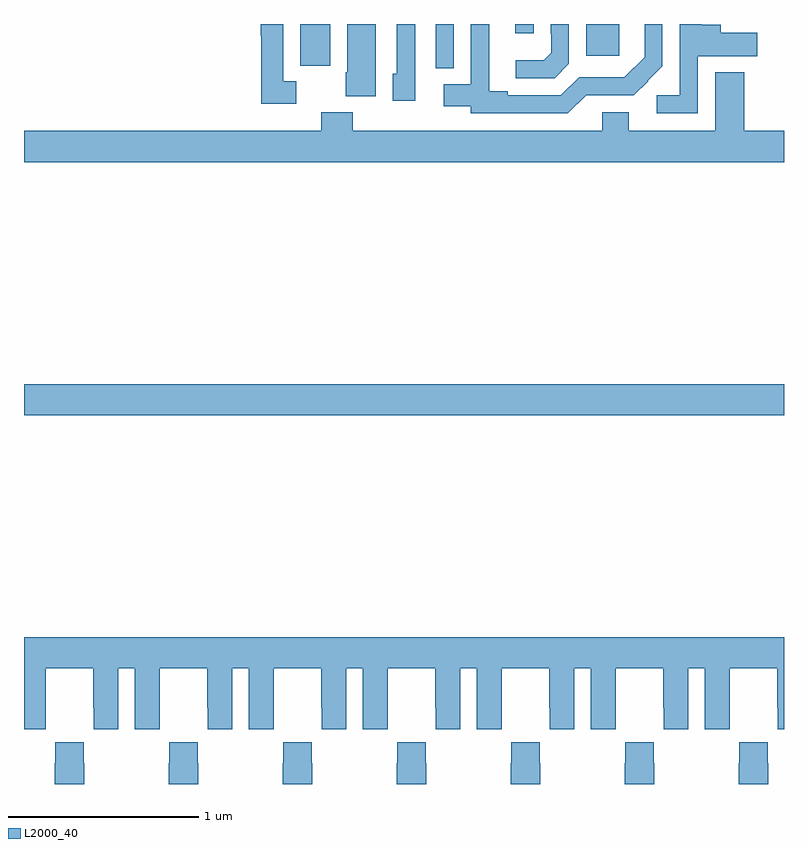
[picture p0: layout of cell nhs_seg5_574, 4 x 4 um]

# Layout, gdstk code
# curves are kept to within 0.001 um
import gdstk
lib = gdstk.Library(unit=1e-6, precision=1e-09)
def R(c, l, rs):  # rectangles x0, y0, x1, y1
    for r in rs: c.add(gdstk.rectangle(r[:2], r[2:], *l))
def P(c, l, *ps):  # polygons
    for p in ps: c.add(gdstk.Polygon(p, *l))
L2000_40 = (2000, 40)

nhs_seg5_574 = lib.new_cell('nhs_seg5_574')
R(nhs_seg5_574, L2000_40, [(147,876.74,151,876.904), (149.166,878.567,149.262,878.799), (148.454,878.58,148.612,878.799), (149.96,878.631,150.133,878.799), (149.585,878.751,149.682,878.799)])
P(nhs_seg5_574, L2000_40, [(149.868,878.589),(149.868,878.799),(149.772,878.799),(149.772,878.749),(149.775,878.749),(149.775,878.649),(149.735,878.609),(149.589,878.609),(149.589,878.514),(149.793,878.514)],
  [(149.959,878.424),(150.21,878.424),(150.36,878.576),(150.36,878.799),(150.266,878.799),(150.266,878.624),(150.16,878.518),(150.058,878.518),(150.058,878.52),(149.922,878.52),(149.826,878.424),(149.545,878.424),(149.545,878.444),(149.449,878.444),(149.449,878.799),(149.352,878.799),(149.352,878.482),(149.208,878.482),(149.208,878.366),(149.352,878.366),(149.352,878.328),(149.863,878.328)],
  [(148.852,878.799),(148.7,878.799),(148.7,878.544),(148.694,878.544),(148.694,878.42),(148.852,878.42)],
  [(149.058,878.799),(148.962,878.799),(148.962,878.538),(148.94,878.538),(148.94,878.394),(149.058,878.394)],
  [(148.432,878.499),(148.365,878.499),(148.365,878.799),(148.245,878.799),(148.245,878.736),(148.249,878.736),(148.249,878.379),(148.432,878.379)],
  [(150.546,878.63),(150.859,878.63),(150.859,878.752),(150.667,878.752),(150.667,878.794),(150.566,878.794),(150.566,878.799),(150.45,878.799),(150.45,878.424),(150.33,878.424),(150.33,878.328),(150.546,878.328)],
  [(151,878.236),(150.791,878.236),(150.791,878.545),(150.638,878.545),(150.638,878.236),(150.184,878.236),(150.184,878.335),(150.044,878.335),(150.044,878.236),(148.73,878.236),(148.73,878.335),(148.565,878.335),(148.565,878.236),(147,878.236),(147,878.072),(151,878.072)],
  [(147,875.088),(147.114,875.088),(147.114,875.2),(147.115,875.2),(147.115,875.408),(147.365,875.408),(147.365,875.2),(147.366,875.2),(147.366,875.088),(147.496,875.088),(147.496,875.408),(147.584,875.408),(147.584,875.088),(147.714,875.088),(147.714,875.2),(147.715,875.2),(147.715,875.408),(147.965,875.408),(147.965,875.2),(147.966,875.2),(147.966,875.088),(148.096,875.088),(148.096,875.408),(148.184,875.408),(148.184,875.088),(148.314,875.088),(148.314,875.2),(148.315,875.2),(148.315,875.408),(148.565,875.408),(148.565,875.2),(148.566,875.2),(148.566,875.088),(148.696,875.088),(148.696,875.408),(148.784,875.408),(148.784,875.088),(148.914,875.088),(148.914,875.2),(148.915,875.2),(148.915,875.408),(149.165,875.408),(149.165,875.2),(149.166,875.2),(149.166,875.088),(149.296,875.088),(149.296,875.408),(149.384,875.408),(149.384,875.088),(149.514,875.088),(149.514,875.2),(149.515,875.2),(149.515,875.408),(149.765,875.408),(149.765,875.2),(149.766,875.2),(149.766,875.088),(149.896,875.088),(149.896,875.408),(149.984,875.408),(149.984,875.088),(150.114,875.088),(150.114,875.2),(150.115,875.2),(150.115,875.408),(150.365,875.408),(150.365,875.2),(150.366,875.2),(150.366,875.088),(150.496,875.088),(150.496,875.408),(150.584,875.408),(150.584,875.088),(150.714,875.088),(150.714,875.2),(150.715,875.2),(150.715,875.408),(150.965,875.408),(150.965,875.2),(150.966,875.2),(150.966,875.088),(151,875.088),(151,875.572),(147,875.572)],
  [(147.918,874.907),(147.915,874.907),(147.915,875.02),(147.765,875.02),(147.765,874.907),(147.763,874.907),(147.763,874.799),(147.918,874.799)],
  [(148.518,874.907),(148.515,874.907),(148.515,875.02),(148.365,875.02),(148.365,874.907),(148.363,874.907),(148.363,874.799),(148.518,874.799)],
  [(149.118,874.907),(149.115,874.907),(149.115,875.02),(148.965,875.02),(148.965,874.907),(148.963,874.907),(148.963,874.799),(149.118,874.799)],
  [(149.718,874.907),(149.715,874.907),(149.715,875.02),(149.565,875.02),(149.565,874.907),(149.563,874.907),(149.563,874.799),(149.718,874.799)],
  [(150.318,874.907),(150.315,874.907),(150.315,875.02),(150.165,875.02),(150.165,874.907),(150.163,874.907),(150.163,874.799),(150.318,874.799)],
  [(150.918,874.907),(150.915,874.907),(150.915,875.02),(150.765,875.02),(150.765,874.907),(150.763,874.907),(150.763,874.799),(150.918,874.799)],
  [(147.318,874.907),(147.315,874.907),(147.315,875.02),(147.165,875.02),(147.165,874.907),(147.163,874.907),(147.163,874.799),(147.318,874.799)])

lib.write_gds('nhs_seg5_574.gds')
